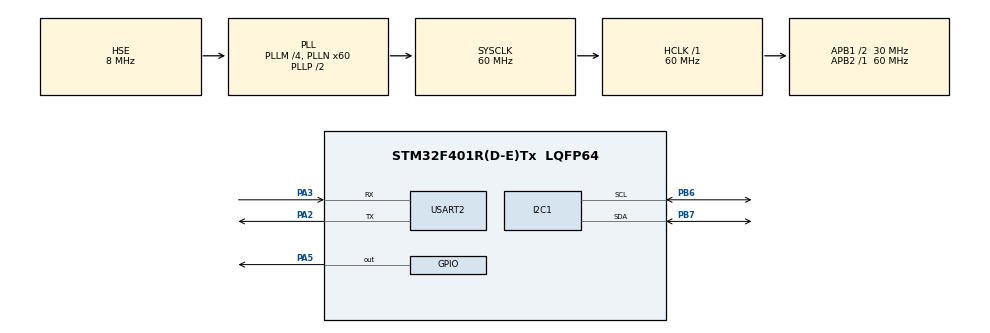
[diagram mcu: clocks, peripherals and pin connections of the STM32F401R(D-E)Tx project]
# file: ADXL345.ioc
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I2C1.I2C_Mode=I2C_Standard
Mcu.Family=STM32F4
Mcu.Name=STM32F401R(D-E)Tx
Mcu.Package=LQFP64
NVIC.PriorityGroup=NVIC_PRIORITYGROUP_4
PA13.Mode=Serial_Wire
PA13.Signal=SYS_JTMS-SWDIO
PA14.Mode=Serial_Wire
PA14.Signal=SYS_JTCK-SWCLK
PA2.Mode=Asynchronous
PA2.Signal=USART2_TX
PA3.Mode=Asynchronous
PA3.Signal=USART2_RX
PA5.Signal=GPIO_Output
PB6.Mode=I2C
PB6.Signal=I2C1_SCL
PB7.Mode=I2C
PB7.Signal=I2C1_SDA
PH0\ -\ OSC_IN.Mode=HSE-External-Oscillator
PH0\ -\ OSC_IN.Signal=RCC_OSC_IN
PH1\ -\ OSC_OUT.Mode=HSE-External-Oscillator
PH1\ -\ OSC_OUT.Signal=RCC_OSC_OUT
ProjectManager.HeapSize=0x200
ProjectManager.StackSize=0x400
ProjectManager.TargetToolchain=STM32CubeIDE
RCC.48MHZClocksFreq_Value=30000000
RCC.AHBFreq_Value=60000000
RCC.APB1CLKDivider=RCC_HCLK_DIV2
RCC.APB1Freq_Value=30000000
RCC.APB1TimFreq_Value=60000000
RCC.APB2Freq_Value=60000000
RCC.APB2TimFreq_Value=60000000
RCC.CortexFreq_Value=60000000
RCC.HCLKFreq_Value=60000000
RCC.HSE_VALUE=8000000
RCC.HSI_VALUE=16000000
RCC.LSE_VALUE=32768
RCC.PLLM=4
RCC.PLLN=60
RCC.PLLSourceVirtual=RCC_PLLSOURCE_HSE
RCC.SYSCLKFreq_VALUE=60000000
RCC.SYSCLKSource=RCC_SYSCLKSOURCE_PLLCLK
RCC.VCOOutputFreq_Value=120000000
USART2.VirtualMode=VM_ASYNC
board=custom

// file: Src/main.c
/* USER CODE BEGIN Header */
/**
  ******************************************************************************
  * @file           : main.c
  * @brief          : Main program body
  ******************************************************************************
  * @attention
  *
  * <h2><center>&copy; Copyright (c) 2021 STMicroelectronics.
  * All rights reserved.</center></h2>
  *
  * This software component is licensed by ST under BSD 3-Clause license,
  * the "License"; You may not use this file except in compliance with the
  * License. You may obtain a copy of the License at:
  *                        opensource.org/licenses/BSD-3-Clause
  *
  ******************************************************************************
  */
/* USER CODE END Header */
#include "main.h"

/* USER CODE BEGIN Includes */
#define adxl_address 0x53<<1

/* USER CODE END Includes */

I2C_HandleTypeDef hi2c1;

UART_HandleTypeDef huart2;

/* USER CODE BEGIN PV */

uint8_t data_rec[6];
int16_t x,y,z;
float xg, yg, zg;

/* USER CODE END PV */

void SystemClock_Config(void);
static void MX_GPIO_Init(void);
static void MX_I2C1_Init(void);
static void MX_USART2_UART_Init(void);

/* USER CODE BEGIN 0 */
void adxl_write (uint8_t reg, uint8_t value)
{
	uint8_t data[2];
	data[0] = reg;
	data[1] = value;
	HAL_I2C_Master_Transmit (&hi2c1, adxl_address, data, 2, HAL_MAX_DELAY);
}

void adxl_read_values (uint8_t reg)
{
   HAL_I2C_Mem_Read (&hi2c1, adxl_address, reg, 1, (uint8_t *)data_rec, 6, HAL_MAX_DELAY);
}

void adxl_init (void)
{
	adxl_write (0x2d, 0x00);  // reset all bits
	adxl_write (0x2d, 0x08);  // power_cntl measure and wake up 8hz
	adxl_write (0x31, 0x01);  // data_format range= +- 4g

}

uint8_t buff[100];

/* USER CODE END 0 */

int main(void)
{

  /* MCU Configuration--------------------------------------------------------*/

  /* Reset of all peripherals, Initializes the Flash interface and the Systick. */
  HAL_Init();

  /* Configure the system clock */
  SystemClock_Config();

  /* Initialize all configured peripherals */
  MX_GPIO_Init();
  MX_I2C1_Init();
  MX_USART2_UART_Init();
  /* USER CODE BEGIN 2 */

  adxl_init();  // initialise adxl

  /* USER CODE END 2 */

  /* Infinite loop */
  while (1)
  {

    /* USER CODE BEGIN 3 */

	  adxl_read_values (0x32);
	  x = ((data_rec[1]<<8)|data_rec[0]);
	  y = ((data_rec[3]<<8)|data_rec[2]);
	  z = ((data_rec[5]<<8)|data_rec[4]);

      // Convert into 'g'

      xg = x*.0078;
      yg = y*.0078;
   	  zg = z*.0078;

   	  sprintf(buff,"X= %d  Y=%d  Z=%d \r\n", x,y,z);
   	  HAL_UART_Transmit(&huart2, buff, 1, HAL_MAX_DELAY);

  }
  /* USER CODE END 3 */
}

void SystemClock_Config(void)
{
  RCC_OscInitTypeDef RCC_OscInitStruct = {0};
  RCC_ClkInitTypeDef RCC_ClkInitStruct = {0};

  /** Configure the main internal regulator output voltage
  */
  __HAL_RCC_PWR_CLK_ENABLE();
  __HAL_PWR_VOLTAGESCALING_CONFIG(PWR_REGULATOR_VOLTAGE_SCALE2);
  /** Initializes the RCC Oscillators according to the specified parameters
  * in the RCC_OscInitTypeDef structure.
  */
  RCC_OscInitStruct.OscillatorType = RCC_OSCILLATORTYPE_HSE;
  RCC_OscInitStruct.HSEState = RCC_HSE_ON;
  RCC_OscInitStruct.PLL.PLLState = RCC_PLL_ON;
  RCC_OscInitStruct.PLL.PLLSource = RCC_PLLSOURCE_HSE;
  RCC_OscInitStruct.PLL.PLLM = 4;
  RCC_OscInitStruct.PLL.PLLN = 60;
  RCC_OscInitStruct.PLL.PLLP = RCC_PLLP_DIV2;
  RCC_OscInitStruct.PLL.PLLQ = 4;
  if (HAL_RCC_OscConfig(&RCC_OscInitStruct) != HAL_OK)
  {
    Error_Handler();
  }
  /** Initializes the CPU, AHB and APB buses clocks
  */
  RCC_ClkInitStruct.ClockType = RCC_CLOCKTYPE_HCLK|RCC_CLOCKTYPE_SYSCLK
                              |RCC_CLOCKTYPE_PCLK1|RCC_CLOCKTYPE_PCLK2;
  RCC_ClkInitStruct.SYSCLKSource = RCC_SYSCLKSOURCE_PLLCLK;
  RCC_ClkInitStruct.AHBCLKDivider = RCC_SYSCLK_DIV1;
  RCC_ClkInitStruct.APB1CLKDivider = RCC_HCLK_DIV2;
  RCC_ClkInitStruct.APB2CLKDivider = RCC_HCLK_DIV1;

  if (HAL_RCC_ClockConfig(&RCC_ClkInitStruct, FLASH_LATENCY_1) != HAL_OK)
  {
    Error_Handler();
  }
}

static void MX_I2C1_Init(void)
{

  hi2c1.Instance = I2C1;
  hi2c1.Init.ClockSpeed = 100000;
  hi2c1.Init.DutyCycle = I2C_DUTYCYCLE_2;
  hi2c1.Init.OwnAddress1 = 0;
  hi2c1.Init.AddressingMode = I2C_ADDRESSINGMODE_7BIT;
  hi2c1.Init.DualAddressMode = I2C_DUALADDRESS_DISABLE;
  hi2c1.Init.OwnAddress2 = 0;
  hi2c1.Init.GeneralCallMode = I2C_GENERALCALL_DISABLE;
  hi2c1.Init.NoStretchMode = I2C_NOSTRETCH_DISABLE;
  if (HAL_I2C_Init(&hi2c1) != HAL_OK)
  {
    Error_Handler();
  }

}

static void MX_USART2_UART_Init(void)
{

  huart2.Instance = USART2;
  huart2.Init.BaudRate = 115200;
  huart2.Init.WordLength = UART_WORDLENGTH_8B;
  huart2.Init.StopBits = UART_STOPBITS_1;
  huart2.Init.Parity = UART_PARITY_NONE;
  huart2.Init.Mode = UART_MODE_TX_RX;
  huart2.Init.HwFlowCtl = UART_HWCONTROL_NONE;
  huart2.Init.OverSampling = UART_OVERSAMPLING_16;
  if (HAL_UART_Init(&huart2) != HAL_OK)
  {
    Error_Handler();
  }

}

static void MX_GPIO_Init(void)
{
  GPIO_InitTypeDef GPIO_InitStruct = {0};

  /* GPIO Ports Clock Enable */
  __HAL_RCC_GPIOH_CLK_ENABLE();
  __HAL_RCC_GPIOA_CLK_ENABLE();
  __HAL_RCC_GPIOB_CLK_ENABLE();

  /*Configure GPIO pin Output Level */
  HAL_GPIO_WritePin(GPIOA, GPIO_PIN_5, GPIO_PIN_RESET);

  /*Configure GPIO pin : PA5 */
  GPIO_InitStruct.Pin = GPIO_PIN_5;
  GPIO_InitStruct.Mode = GPIO_MODE_OUTPUT_PP;
  GPIO_InitStruct.Pull = GPIO_NOPULL;
  GPIO_InitStruct.Speed = GPIO_SPEED_FREQ_LOW;
  HAL_GPIO_Init(GPIOA, &GPIO_InitStruct);

}

void Error_Handler(void)
{
  __disable_irq();
  while (1)
  {
  }
}

/************************ (C) COPYRIGHT STMicroelectronics *****END OF FILE****/
